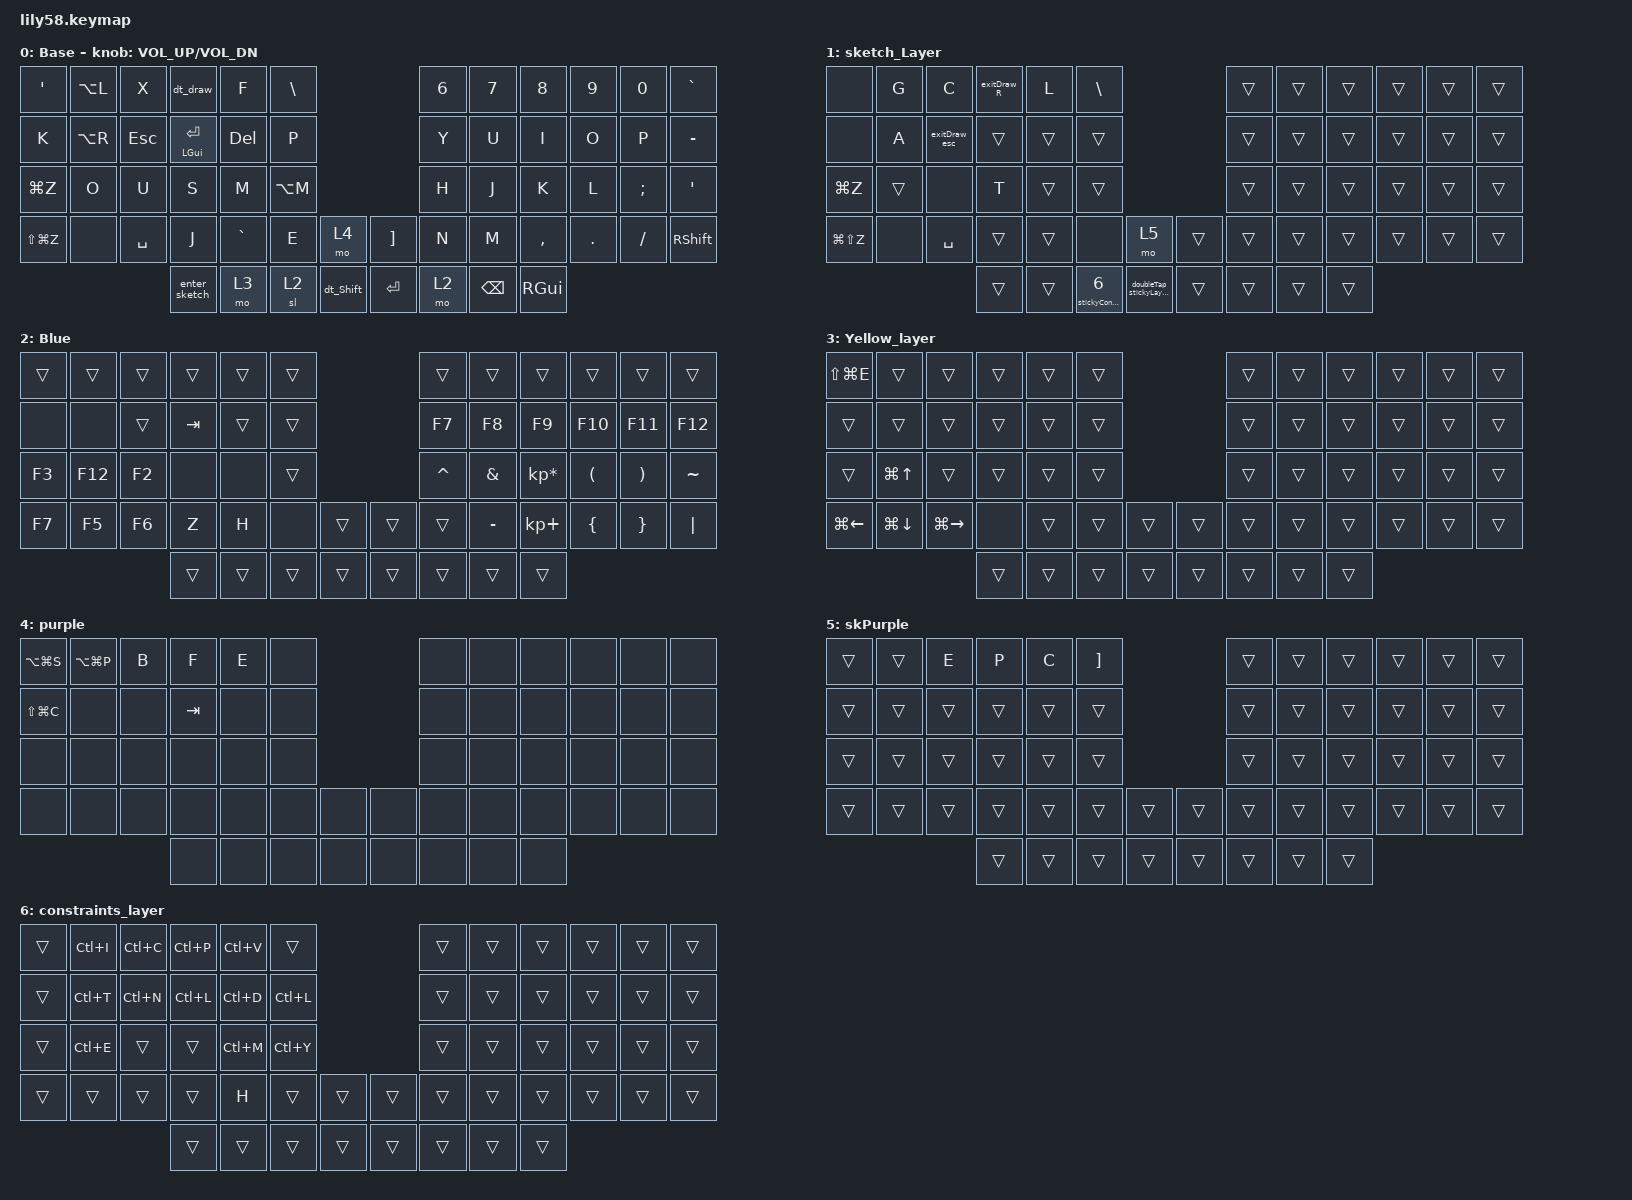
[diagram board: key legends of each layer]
#include <behaviors.dtsi>
#include <dt-bindings/zmk/backlight.h>
#include <dt-bindings/zmk/keys.h>

/ {
    macros {
        lm: new_macro {
            compatible = "zmk,behavior-macro";
            #binding-cells = <0>;
            bindings = <&mo 1 &kp LEFT_SHIFT>;
            label = "NEW_MACRO";
        };

        // Macro to turn backlight on when entering sketch layer

        enter_sketch: enter_sketch {
            compatible = "zmk,behavior-macro";
            #binding-cells = <0>;
            bindings = <&bl BL_ON &tog 1>;
            label = "ENTER_SKETCH";
        };

        // Macro to turn backlight off when exiting sketch layer  

        exit_sketch: exit_sketch {
            compatible = "zmk,behavior-macro";
            #binding-cells = <0>;
            bindings = <&bl BL_OFF &tog 1>;
            label = "EXIT_SKETCH";
        };
    };

    behaviors {
        // Define a tap dance that toggles between two outputs

        tap_hold_toglayer: tap_hold_toglayer {
            compatible = "zmk,behavior-hold-tap";
            label = "TAP_HOLD_TOGLAYER";
            bindings = <&tog>, <&kp>;

            #binding-cells = <2>;
            tapping-term-ms = <200>;
            flavor = "tap-preferred";
        };

        doubleTap_stickyLayer: doubleTap_stickyLayer {
            compatible = "zmk,behavior-tap-dance";
            label = "DOUBLETAP_STICKYLAYER";
            #binding-cells = <0>;
            bindings = <&kp LEFT_SHIFT>, <&sl 6>;
        };

        // Double tap behavior (no backlight control needed)

        doubleTap_stickyLayer_bl: doubleTap_stickyLayer_bl {
            compatible = "zmk,behavior-tap-dance";
            label = "DOUBLETAP_STICKYLAYER_BL";
            #binding-cells = <0>;
            bindings = <&kp LEFT_SHIFT>, <&sl 6>;
        };

        dt_Shift: dt_Shift {
            compatible = "zmk,behavior-tap-dance";
            label = "DT_SHIFT";
            #binding-cells = <0>;
            bindings = <&kp LEFT_SHIFT>, <&kp RETURN>, <&kp SPACE>;
        };

        tapHold_kp: tapHold_kp {
            compatible = "zmk,behavior-hold-tap";
            label = "TAPHOLD_KP";
            bindings = <&kp>, <&kp>;

            #binding-cells = <2>;
            tapping-term-ms = <200>;
            flavor = "tap-preferred";
        };

        // Modified to use backlight-aware macros

        dt_draw: dt_draw {
            compatible = "zmk,behavior-tap-dance";
            label = "DT_DRAW";
            #binding-cells = <0>;
            bindings = <&kp B>, <&enter_sketch>;
        };

        exitDraw_R: exitDraw_R {
            compatible = "zmk,behavior-tap-dance";
            label = "EXITDRAW_R";
            #binding-cells = <0>;
            bindings = <&kp R>, <&exit_sketch>;
        };

        exitDraw_esc: exitDraw_esc {
            compatible = "zmk,behavior-tap-dance";
            label = "EXITDRAW_ESC";
            #binding-cells = <0>;
            bindings = <&kp ESCAPE>, <&exit_sketch>;
        };

        stickyConstraints: stickyConstraints {
            compatible = "zmk,behavior-sticky-key";
            label = "STICKYCONSTRAINTS";
            bindings = <&sl>;
            #binding-cells = <1>;
            release-after-ms = <5000>;
        };

        // Sticky layer for constraints (no backlight control needed)

        stickyConstraints_bl: stickyConstraints_bl {
            compatible = "zmk,behavior-sticky-key";
            label = "STICKYCONSTRAINTS_BL";
            bindings = <&sl>;
            #binding-cells = <1>;
            release-after-ms = <5000>;
        };
    };

    keymap {
        compatible = "zmk,keymap";

        default_layer {
            display-name = "Base";
            bindings = <
&kp SQT        &kp LA(L)  &kp X       &dt_draw              &kp F      &kp BACKSLASH                         &kp N6  &kp N7    &kp N8     &kp N9   &kp N0    &kp GRAVE
&kp K          &kp LA(R)  &kp ESCAPE  &tapHold_kp LGUI RET  &kp DEL    &kp P                                 &kp Y   &kp U     &kp I      &kp O    &kp P     &kp MINUS
&kp LG(Z)      &kp O      &kp U       &kp S                 &kp M      &kp LA(M)                             &kp H   &kp J     &kp K      &kp L    &kp SEMI  &kp SQT
&kp LS(LG(Z))  &none      &kp SPACE   &kp J                 &kp GRAVE  &kp E          &mo 4        &kp RBKT  &kp N   &kp M     &kp COMMA  &kp DOT  &kp FSLH  &kp RSHFT
                                      &enter_sketch         &mo 3      &sl 2          &dt_Shift    &kp RET   &mo 2   &kp BSPC  &kp RGUI
            >;

            sensor-bindings = <&inc_dec_kp C_VOL_UP C_VOL_DN>;
        };

        sketch_Layer {
            bindings = <
&none          &kp G   &kp C          &exitDraw_R  &kp L   &kp BACKSLASH                                                 &trans  &trans  &trans  &trans  &trans  &trans
&none          &kp A   &exitDraw_esc  &trans       &trans  &trans                                                        &trans  &trans  &trans  &trans  &trans  &trans
&kp LG(Z)      &trans  &none          &kp T        &trans  &trans                                                        &trans  &trans  &trans  &trans  &trans  &trans
&kp LG(LS(Z))  &none   &kp SPACE      &trans       &trans  &none                    &mo 5                        &trans  &trans  &trans  &trans  &trans  &trans  &trans
                                      &trans       &trans  &stickyConstraints_bl 6  &doubleTap_stickyLayer_bl    &trans  &trans  &trans  &trans
            >;
        };

        blue_layer {
            display-name = "Blue";
            bindings = <
&trans  &trans   &trans  &trans   &trans  &trans                    &trans     &trans     &trans           &trans    &trans    &trans
&none   &none    &trans  &kp TAB  &trans  &trans                    &kp F7     &kp F8     &kp F9           &kp F10   &kp F11   &kp F12
&kp F3  &kp F12  &kp F2  &none    &none   &trans                    &kp CARET  &kp AMPS   &kp KP_MULTIPLY  &kp LPAR  &kp RPAR  &kp TILDE
&kp F7  &kp F5   &kp F6  &kp Z    &kp H   &none   &trans    &trans  &trans     &kp MINUS  &kp KP_PLUS      &kp LBRC  &kp RBRC  &kp PIPE
                         &trans   &trans  &trans  &trans    &trans  &trans     &trans     &trans
            >;
        };

        Yellow_layer {
            bindings = <
&kp LS(LG(E))  &trans            &trans         &trans  &trans  &trans                    &trans  &trans  &trans  &trans  &trans  &trans
&trans         &trans            &trans         &trans  &trans  &trans                    &trans  &trans  &trans  &trans  &trans  &trans
&trans         &kp LG(UP_ARROW)  &trans         &trans  &trans  &trans                    &trans  &trans  &trans  &trans  &trans  &trans
&kp LG(LEFT)   &kp LG(DOWN)      &kp LG(RIGHT)  &none   &trans  &trans  &trans    &trans  &trans  &trans  &trans  &trans  &trans  &trans
                                                &trans  &trans  &trans  &trans    &trans  &trans  &trans  &trans
            >;
        };

        purple {
            bindings = <
&kp LA(LG(S))  &kp LA(LG(P))  &kp B  &kp F    &kp E  &none                  &none  &none  &none  &none  &none  &none
&kp LS(LG(C))  &none          &none  &kp TAB  &none  &none                  &none  &none  &none  &none  &none  &none
&none          &none          &none  &none    &none  &none                  &none  &none  &none  &none  &none  &none
&none          &none          &none  &none    &none  &none  &none    &none  &none  &none  &none  &none  &none  &none
                                     &none    &none  &none  &none    &none  &none  &none  &none
            >;
        };

        skPurple {
            bindings = <
&trans  &trans  &kp E   &kp P   &kp C   &kp RIGHT_BRACKET                    &trans  &trans  &trans  &trans  &trans  &trans
&trans  &trans  &trans  &trans  &trans  &trans                               &trans  &trans  &trans  &trans  &trans  &trans
&trans  &trans  &trans  &trans  &trans  &trans                               &trans  &trans  &trans  &trans  &trans  &trans
&trans  &trans  &trans  &trans  &trans  &trans             &trans    &trans  &trans  &trans  &trans  &trans  &trans  &trans
                        &trans  &trans  &trans             &trans    &trans  &trans  &trans  &trans
            >;
        };

        constraints_layer {
            bindings = <
&trans  &kp LC(I)  &kp LC(C)  &kp LC(P)  &kp LC(V)  &trans                       &trans  &trans  &trans  &trans  &trans  &trans
&trans  &kp LC(T)  &kp LC(N)  &kp LC(L)  &kp LC(D)  &kp LC(L)                    &trans  &trans  &trans  &trans  &trans  &trans
&trans  &kp LC(E)  &trans     &trans     &kp LC(M)  &kp LC(Y)                    &trans  &trans  &trans  &trans  &trans  &trans
&trans  &trans     &trans     &trans     &kp H      &trans     &trans    &trans  &trans  &trans  &trans  &trans  &trans  &trans
                              &trans     &trans     &trans     &trans    &trans  &trans  &trans  &trans
            >;
        };
    };
};
